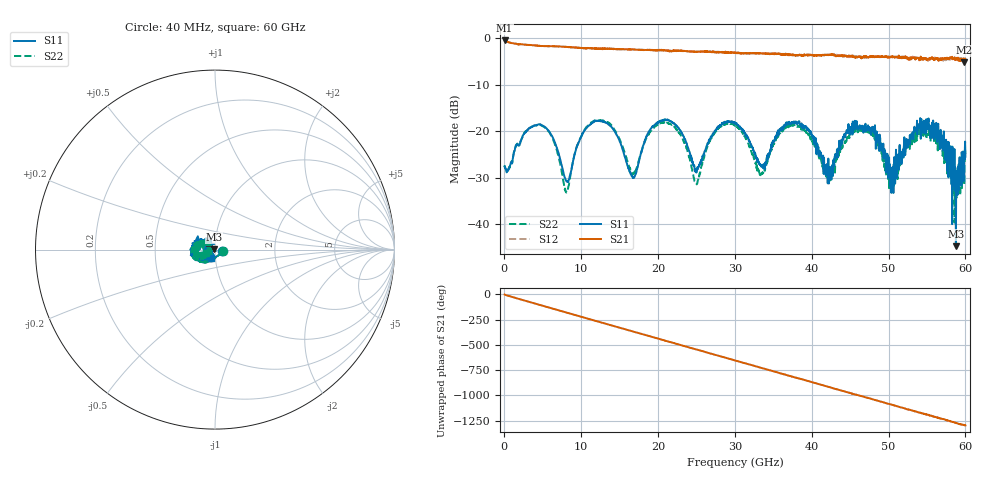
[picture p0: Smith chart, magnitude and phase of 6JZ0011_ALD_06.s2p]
! File created by 'SoftPlot +Plus+ Measurement Management Software'
! SoftPlot +Plus+ Measurement Management Software
! Start 40.000000 MHz  Stop 60.000000 GHz  Points 1601
# MHZ S RI R 50
! S-Parameter data, F S11 S21 S12 S22
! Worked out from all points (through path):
!   1601 points, 40 MHz to 60 GHz, reference 50 ohm
!   highest |S21| = -0.43 dB at 40 MHz (marker M1); lowest = -5.1 dB at 59.85 GHz (marker M2)
!   group delay of S21, straight-line fit = 59.8 ps
!   lowest |S11| = -44.7 dB at 58.76 GHz (marker M3), VSWR 1.01, Z = 49.4 + j0.105 ohm
!   |S11| at or under -10 dB: start of sweep to end of sweep
!   |S22| runs from -39.6 to -17.5 dB; largest |S21 - S12| = 0.054
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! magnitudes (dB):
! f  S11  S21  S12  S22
! 40 MHz  -27.6  -0.4  -0.4  -27.3
! 4.762 GHz  -18.5  -1.6  -1.6  -18.7
! 8.097 GHz  -30.7  -1.8  -1.8  -33.1
! 10.05 GHz  -21.1  -2.1  -2.1  -21.0
! 13.49 GHz  -18.4  -2.2  -2.2  -18.1
! 16.83 GHz  -29.8  -2.4  -2.4  -29.1
! 20.05 GHz  -18.0  -2.6  -2.5  -18.4
! 22.75 GHz  -19.5  -2.6  -2.6  -20.4
! 25 GHz  -28.9  -2.9  -2.8  -31.2
! 27.36 GHz  -20.0  -3.0  -2.8  -20.4
! 30.02 GHz  -18.0  -3.0  -3.0  -18.7
! 33.39 GHz  -27.2  -3.2  -3.2  -28.9
! 36.58 GHz  -18.7  -3.5  -3.5  -19.3
! 40.03 GHz  -20.8  -3.5  -3.6  -21.7
! 42.31 GHz  -30.2  -3.5  -3.5  -30.4
! 44.49 GHz  -20.3  -3.7  -3.7  -22.0
! 47.26 GHz  -19.7  -4.0  -4.1  -20.1
! 50.03 GHz  -26.7  -4.1  -4.1  -26.3
! 54.98 GHz  -18.4  -4.3  -4.4  -20.6
! 58.76 GHz  -44.7  -4.5  -4.3  -30.3
! 59.85 GHz  -25.1  -5.1  -4.4  -31.5
! 60 GHz  -25.5  -4.6  -4.2  -24.9
